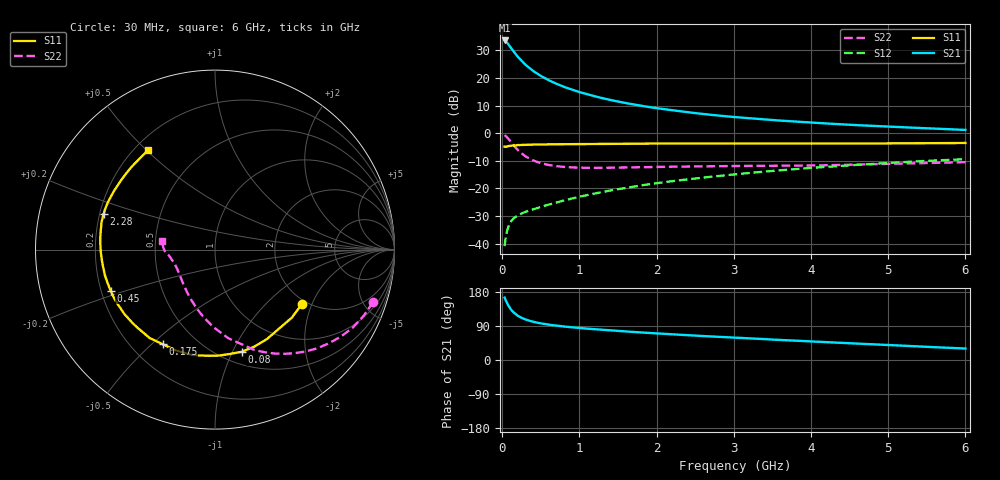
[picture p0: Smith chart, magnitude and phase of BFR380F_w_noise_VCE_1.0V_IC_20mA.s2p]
! Infineon Technologies  Discrete & RF Semiconductors
! BFR380F
! VCE =  1.0 V,  IC =  20 mA
! Common Emitter S-Parameters:  Nov 2015
# GHz  S  MA  R  50
!  f  S11  S21  S12  S22
! GHz  MAG  ANG  MAG  ANG  MAG  ANG  MAG  ANG
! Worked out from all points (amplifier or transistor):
!   206 points, 30 MHz to 6 GHz, reference 50 ohm
!   highest |S21| = 33.6 dB at 30 MHz (marker M1)
!   |S21| within 3 dB of that: start of sweep to 120 MHz
!   unconditionally stable (mu >= 1): 1.185 GHz to end of sweep
!   at 200 MHz: K = 0.39, MSG = 28.7 dB, |S12| = -29.8 dB
!   at 1.56 GHz: K = 1.04, MAG = 14.4 dB, |S12| = -20.0 dB
!   at 6 GHz: K = 1.01, MAG = 4.8 dB, |S12| = -9.4 dB
!   lowest NFmin = 1.04 dB at 900 MHz
!   S11 on the Smith chart (normalised r, x): 30 MHz: 1.90, -1.70; 80 MHz: 0.62, -1.08; 175 MHz: 0.33, -0.54; 450 MHz: 0.24, -0.18; 2.28 GHz: 0.22, +0.15; 6 GHz: 0.25, +0.50
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0.03  0.5715 -31.7  48.03 164.6  0.009 77.8  0.9286 -18.3
0.05  0.5666 -51.4  45.67 154.8  0.0143 71.2  0.8819 -29.6
0.07  0.5839 -68.2  42.34 146.6  0.0187 64.7  0.8202 -39.7
0.08  0.5883 -75.4  40.68 143.3  0.0206 62.3  0.7893 -44.3
0.1  0.5909 -88.0  37.19 136.8  0.0237 58.0  0.727 -52.6
0.13  0.6006 -102.8  32.53 129.1  0.0272 53.3  0.6432 -63.2
0.15  0.6028 -111.2  29.87 124.8  0.029 51.2  0.5947 -69.2
0.175  0.6023 -118.9  27.03 121.2  0.0307 49.5  0.5437 -74.8
0.2  0.6125 -126.4  24.33 116.7  0.0325 48.0  0.499 -81.5
0.26  0.6151 -138.3  19.82 110.3  0.0358 47.0  0.4214 -92.7
0.3  0.6194 -144.5  17.45 106.8  0.0376 47.0  0.3831 -99.3
0.36  0.6218 -151.1  14.85 103.1  0.0402 47.7  0.3428 -107.3
0.45  0.6252 -158.6  12.06 98.5  0.0441 49.6  0.3027 -117.3
0.7  0.631 -170.6  7.893 90.7  0.0556 55.0  0.2538 -136.3
1.04  0.637 -179.7  5.37 83.8  0.0729 60.0  0.2373 -150.7
1.4  0.6429 173.6  4.008 78.1  0.0919 62.7  0.2375 -159.2
2.02  0.6502 165.3  2.823 70.0  0.1256 64.2  0.2455 -166.0
2.28  0.6518 162.3  2.524 66.9  0.1397 64.3  0.2487 -167.8
3.1  0.6511 154.1  1.921 58.2  0.1852 63.1  0.2552 -171.1
4.1  0.6504 143.8  1.532 48.0  0.241 59.5  0.2614 -173.4
5.1  0.6551 134.1  1.302 38.7  0.2947 55.1  0.2815 -179.1
6  0.6677 124.1  1.149 30.2  0.3394 49.9  0.2994 170.6
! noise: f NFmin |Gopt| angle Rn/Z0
0.45  1.07  0.2  173  0.08
0.9  1.04  0.26  171  0.07
1.8  1.27  0.36  -175  0.07
1.9  1.34  0.37  -176  0.07
2.4  1.43  0.39  -165  0.09
3.5  2.02  0.48  -153  0.13
